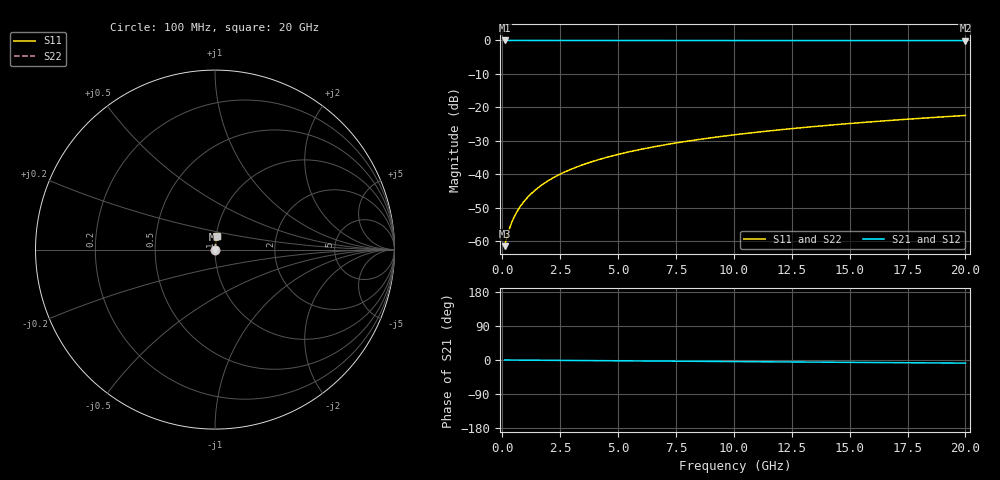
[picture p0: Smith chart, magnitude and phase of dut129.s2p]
! Touchstone file exported from HFSS 2026.1.0
!  File:  C:/ffzhzh/LocalFiles/Ansys_Project_Files/temp_train_TMRDL_129_1782982754_41620.aedt
!  Generated:  05:00:25 PM Jul  2, 2026
!  Design:  TMRDL
!  Project:  temp_train_TMRDL_129_1782982754_41620
! Variables:
!  h_bsmrdl = 2um
!  h_ox = 20um
!  h_rdl = 5um
!  h_sub = 80um
!  h_tmrdl = 3.84um
!  h_tsv = 80um
!  h_via = 3um
!  l_bsmrdl = 300um
!  l_sub = 501.12um
!  l_tmrdl = 101.12um
!  m_sub = 200um
!  pitch = 34.65um
!  r_tsv = 6um
!  s_tmrdl = 10um
!  w_bsmrdl = 18um
!  w_sub = 500um
!  w_tmrdl = 17.89um
!  x_tsv_center1 = 110.065um
!  x_tsv_center2 = 428.065um
!  x_tsv_center3 = 547.075um
!  x_tsv_center4 = 865.075um
!  x_tsv_center5 = 984.085um
!  x_tsv_center6 = 1302.085um
# GHz S MA R 50.000000
! Terminal data exported
! Port[1] = TM_RDL1_1_T1
! Port[2] = TM_RDL1_1_T2
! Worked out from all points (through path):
!   200 points, 100 MHz to 20 GHz, reference 50 ohm
!   highest |S21| = -0.01 dB at 100 MHz (marker M1); lowest = -0.1 dB at 20 GHz (marker M2)
!   group delay of S21, straight-line fit = 1.14 ps
!   lowest |S11| = -61.5 dB at 100 MHz (marker M3), VSWR 1.00, Z = 50.1 + j0.0445 ohm
!   |S11| at or under -10 dB: start of sweep to end of sweep
!   |S22| runs from -61.5 to -22.4 dB; largest |S21 - S12| = 3.2e-15
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0.1  0.0008397 32.0  0.9993 -0.0  0.9993 -0.0  0.0008397 32.0
! Gamma 0 0 0 0
! Port Impedance 50 0 50 0
0.2  0.001147 49.7  0.9993 -0.1  0.9993 -0.1  0.001147 49.7
0.3  0.001504 58.9  0.9992 -0.1  0.9992 -0.1  0.001504 58.9
0.4  0.001873 64.5  0.9992 -0.2  0.9992 -0.2  0.001873 64.5
0.5  0.002246 68.2  0.9992 -0.2  0.9992 -0.2  0.002246 68.2
0.6  0.002621 71.0  0.9992 -0.3  0.9992 -0.3  0.002621 71.0
0.8  0.003381 74.7  0.9991 -0.3  0.9991 -0.3  0.003381 74.7
1.1  0.004537 78.1  0.9991 -0.5  0.9991 -0.5  0.004537 78.1
1.3  0.005315 79.5  0.9991 -0.6  0.9991 -0.6  0.005315 79.5
1.6  0.006487 81.0  0.999 -0.7  0.999 -0.7  0.006487 81.0
2.1  0.008449 82.4  0.999 -0.9  0.999 -0.9  0.008449 82.4
2.7  0.01081 83.3  0.9989 -1.1  0.9989 -1.1  0.01081 83.3
3.5  0.01394 83.8  0.9988 -1.5  0.9988 -1.5  0.01394 83.8
4.2  0.01667 84.0  0.9986 -1.8  0.9986 -1.8  0.01667 84.0
5  0.01977 83.9  0.9984 -2.1  0.9984 -2.1  0.01977 83.9
5.9  0.02323 83.8  0.9982 -2.5  0.9982 -2.5  0.02323 83.8
6.8  0.02667 83.6  0.998 -2.8  0.998 -2.8  0.02667 83.6
8.3  0.03235 83.2  0.9976 -3.5  0.9976 -3.5  0.03235 83.2
10.1  0.03911 82.7  0.9971 -4.2  0.9971 -4.2  0.03911 82.7
13.4  0.05137 81.7  0.9962 -5.6  0.9962 -5.6  0.05137 81.7
16.7  0.06353 80.6  0.9952 -6.9  0.9952 -6.9  0.06353 80.6
20  0.0756 79.4  0.994 -8.2  0.994 -8.2  0.0756 79.4
